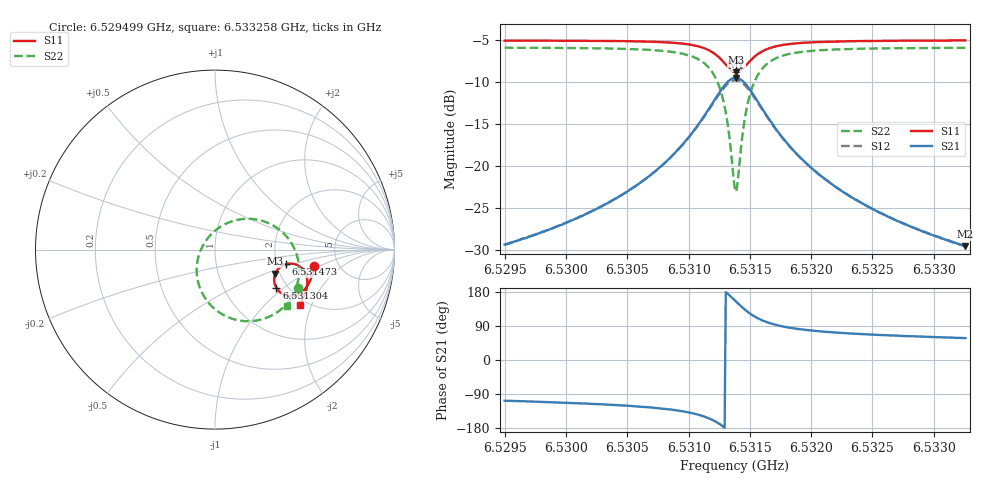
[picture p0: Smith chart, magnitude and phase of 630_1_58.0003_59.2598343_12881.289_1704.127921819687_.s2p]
#  HZ  S  RI  R  50.00
! Rohde & Schwarz Vector Network Analyzer
! Rohde-Schwarz,ZNB20-2Port,1311601062101988,3.16
! Created: UTC 3/21/2024, 1:18:35 AM
! freq[Hz]  re:S11  im:S11  re:S21  im:S21  re:S12  im:S12  re:S22  im:S22
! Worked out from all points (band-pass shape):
!   401 points, 6.529499 GHz to 6.533258 GHz, reference 50 ohm
!   highest |S21| = -9.47 dB at 6.531388 GHz (marker M1); lowest = -29.6 dB at 6.533258 GHz (marker M2)
!   |S21| within 3 dB of the highest: 6.531197 GHz to 6.531571 GHz (374.8 kHz wide, 0.00574 % of centre)
!   lowest |S11| = -8.8 dB at 6.531388 GHz (marker M3), VSWR 2.13, Z = 94.8 - j29.2 ohm
!   |S11| at or under -10 dB: nowhere
!   |S22| runs from -23.1 to -5.9 dB; largest |S21 - S12| = 0.014
!   S11 on the Smith chart (normalised r, x): 6.529499 GHz: 3.28, -0.90; 6.531304 GHz: 1.75, -0.89; 6.531473 GHz: 2.24, -0.44; 6.533258 GHz: 1.83, -1.64
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6.5294994e9  0.5524 -0.094  -0.0101 -0.0323  -0.0109 -0.032  0.462 -0.2124
6.530129e9  0.5394 -0.1472  -0.0208 -0.0457  -0.0221 -0.0451  0.4264 -0.2717
6.5304767e9  0.5267 -0.1803  -0.0345 -0.0592  -0.0361 -0.0584  0.3906 -0.313
6.5307586e9  0.5079 -0.2119  -0.0586 -0.0773  -0.0609 -0.0756  0.3361 -0.3557
6.5309841e9  0.4765 -0.2417  -0.1051 -0.0974  -0.1079 -0.0935  0.243 -0.393
6.5311438e9  0.4274 -0.2584  -0.1815 -0.1001  -0.1833 -0.0923  0.1043 -0.3878
6.5312378e9  0.3781 -0.2479  -0.2572 -0.0649  -0.2549 -0.054  -0.0199 -0.3139
6.5313036e9  0.342 -0.2133  -0.3088 0.00513  -0.3007 0.0157  -0.0927 -0.1865
6.5313412e9  0.3306 -0.1804  -0.321 0.0656  -0.3094 0.0732  -0.1008 -0.085
6.5313694e9  0.3309 -0.1523  -0.3146 0.1152  -0.3018 0.1197  -0.0809 -0.00533
6.5313788e9  0.3331 -0.143  -0.3093 0.1314  -0.2963 0.1348  -0.0689 0.0201
6.5313882e9  0.3363 -0.1338  -0.3023 0.1472  -0.2893 0.1494  -0.0545 0.0444
6.5314069e9  0.3453 -0.117  -0.2837 0.1758  -0.2713 0.1758  -0.019 0.0876
6.5314445e9  0.3715 -0.0917  -0.2342 0.2183  -0.2244 0.2148  0.0691 0.1479
6.5314727e9  0.3943 -0.0813  -0.1931 0.2351  -0.1854 0.2307  0.1397 0.1683
6.5315385e9  0.443 -0.0807  -0.1087 0.2359  -0.1051 0.2318  0.2804 0.1546
6.5316325e9  0.4849 -0.1048  -0.0374 0.1993  -0.0357 0.197  0.3954 0.0771
6.5317734e9  0.5089 -0.1441  0.00456 0.1452  0.00576 0.1444  0.456 -0.0302
6.5320083e9  0.5142 -0.1891  0.0206 0.0941  0.0218 0.0937  0.4682 -0.1353
6.5322808e9  0.5082 -0.224  0.0226 0.0646  0.0236 0.0643  0.4564 -0.2015
6.5326379e9  0.4958 -0.2585  0.0209 0.0447  0.0218 0.0445  0.4359 -0.254
6.5332581e9  0.4711 -0.3064  0.0177 0.0281  0.0183 0.0277  0.4007 -0.312
